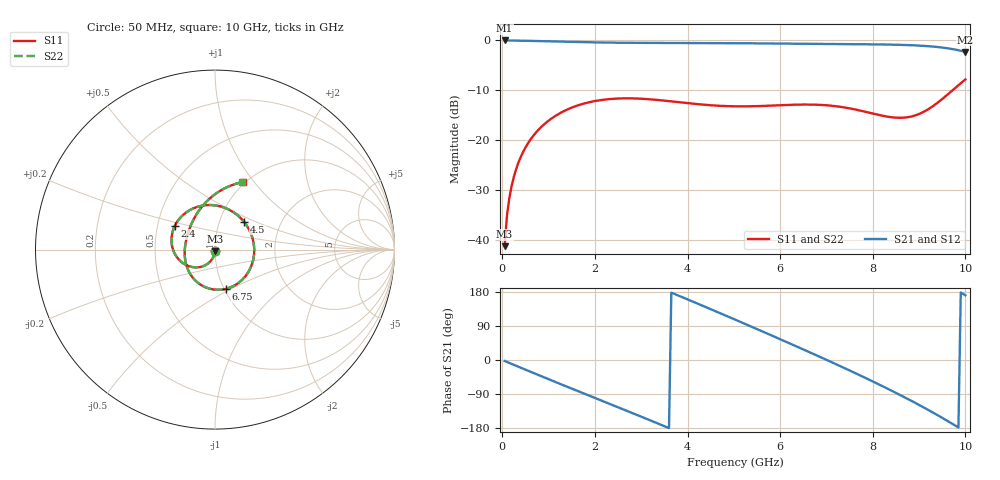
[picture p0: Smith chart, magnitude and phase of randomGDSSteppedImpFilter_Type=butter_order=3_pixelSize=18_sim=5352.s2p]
! freq	dB(S11)	phase(S11)	dB(S12)	phase(S12)
!  dB(S21)	phase(S21)	dB(S22)	phase(S22)
!S-par simulation data
#  GHz  S  DB  R 50
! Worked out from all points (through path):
!   200 points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, 50 MHz to 10 GHz, reference 50 ohm
!   highest |S21| = 0.00 dB at 50 MHz (marker M1); lowest = -2.3 dB at 10 GHz (marker M2)
!   group delay of S21, straight-line fit = 149 ps
!   lowest |S11| = -41.3 dB at 50 MHz (marker M3), VSWR 1.02, Z = 50 - j0.863 ohm
!   |S11| at or under -10 dB: start of sweep to 9.722 GHz
!   |S22| runs from -41.3 to -7.8 dB; largest |S21 - S12| = 0
!   S11 on the Smith chart (normalised r, x): 50 MHz: 1.00, -0.02; 2.4 GHz: 0.62, +0.18; 4.5 GHz: 1.30, +0.43; 6.75 GHz: 1.02, -0.47; 10 GHz: 0.97, +0.88
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0.05  -41.26 -92.2  -0.00 -2.6  -0.00 -2.6  -41.26 -92.2
0.1  -35.25 -95.0  -0.01 -5.1  -0.01 -5.1  -35.25 -95.0
0.2  -29.26 -100.3  -0.02 -10.3  -0.02 -10.3  -29.26 -100.3
0.5  -21.49 -115.9  -0.07 -25.5  -0.07 -25.5  -21.49 -116.0
1.15  -15.11 -149.0  -0.20 -58.2  -0.20 -58.2  -15.11 -149.0
1.75  -12.69 -178.7  -0.34 -87.9  -0.34 -87.9  -12.69 -178.7
2.4  -11.70 149.3  -0.45 -119.8  -0.45 -119.8  -11.70 149.2
2.95  -11.67 122.1  -0.49 -147.0  -0.49 -147.0  -11.67 122.0
3.4  -11.98 99.7  -0.50 -169.6  -0.50 -169.6  -11.98 99.6
3.95  -12.52 72.1  -0.51 162.5  -0.51 162.5  -12.52 71.9
4.5  -13.00 44.0  -0.52 134.2  -0.52 134.2  -13.00 43.8
5.05  -13.22 15.5  -0.55 105.4  -0.55 105.4  -13.22 15.2
5.8  -13.08 -23.6  -0.61 65.6  -0.61 65.6  -13.08 -23.9
6.7  -12.87 -71.3  -0.69 17.0  -0.69 17.0  -12.87 -71.6
6.75  -12.88 -74.1  -0.70 14.2  -0.70 14.2  -12.88 -74.3
7.5  -13.62 -116.5  -0.74 -27.6  -0.74 -27.6  -13.62 -116.7
7.95  -14.55 -143.9  -0.78 -53.6  -0.78 -53.6  -14.55 -144.1
8.35  -15.34 -170.5  -0.83 -77.5  -0.83 -77.5  -15.34 -170.5
8.85  -15.22 152.8  -0.96 -108.8  -0.96 -108.8  -15.21 152.8
9.35  -12.84 115.1  -1.27 -142.2  -1.27 -142.2  -12.84 115.1
9.7  -10.18 89.6  -1.69 -167.0  -1.69 -167.0  -10.18 89.7
10  -7.82 67.8  -2.30 170.7  -2.30 170.7  -7.82 67.9
